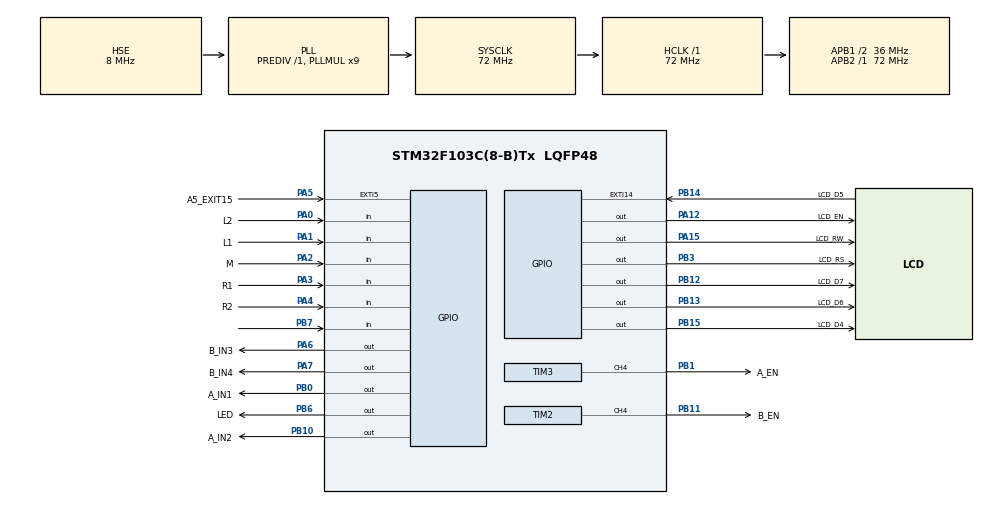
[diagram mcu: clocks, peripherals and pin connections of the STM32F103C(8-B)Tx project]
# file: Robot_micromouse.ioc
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Mcu.Family=STM32F1
Mcu.Name=STM32F103C(8-B)Tx
Mcu.Package=LQFP48
NVIC.EXTI15_10_IRQn=true\:15\:0\:true\:false\:true\:true\:true\:true
NVIC.PriorityGroup=NVIC_PRIORITYGROUP_4
PA0-WKUP.GPIO_Label=L2
PA0-WKUP.Signal=GPIO_Input
PA1.GPIO_Label=L1
PA1.Signal=GPIO_Input
PA12.GPIO_Label=LCD_EN
PA12.Signal=GPIO_Output
PA13.Mode=Serial_Wire
PA13.Signal=SYS_JTMS-SWDIO
PA14.Mode=Serial_Wire
PA14.Signal=SYS_JTCK-SWCLK
PA15.GPIO_Label=LCD_RW
PA15.Signal=GPIO_Output
PA2.GPIO_Label=M
PA2.Signal=GPIO_Input
PA3.GPIO_Label=R1
PA3.Signal=GPIO_Input
PA4.GPIO_Label=R2
PA4.Signal=GPIO_Input
PA5.GPIO_Label=A5_EXIT15
PA5.GPIO_ModeDefaultEXTI=GPIO_MODE_IT_FALLING
PA5.GPIO_PuPd=GPIO_PULLUP
PA5.Signal=GPXTI5
PA6.GPIO_Label=B_IN3
PA6.Signal=GPIO_Output
PA7.GPIO_Label=B_IN4
PA7.Signal=GPIO_Output
PB0.GPIO_Label=A_IN1
PB0.Signal=GPIO_Output
PB1.GPIO_Label=A_EN
PB1.Signal=S_TIM3_CH4
PB10.GPIO_Label=A_IN2
PB10.Signal=GPIO_Output
PB11.GPIO_Label=B_EN
PB11.Signal=S_TIM2_CH4
PB12.GPIO_Label=LCD_D7
PB12.Signal=GPIO_Output
PB13.GPIO_Label=LCD_D6
PB13.Signal=GPIO_Output
PB14.GPIO_Label=LCD_D5
PB14.Signal=GPXTI14
PB15.GPIO_Label=LCD_D4
PB15.Signal=GPIO_Output
PB3.GPIO_Label=LCD_RS
PB3.Signal=GPIO_Output
PB6.GPIO_Label=LED
PB6.GPIO_ModeDefaultOutputPP=GPIO_MODE_OUTPUT_PP
PB6.GPIO_PuPd=GPIO_PULLDOWN
PB6.Signal=GPIO_Output
PB7.GPIO_PuPd=GPIO_PULLUP
PB7.Signal=GPIO_Input
PC14-OSC32_IN.Mode=LSE-External-Oscillator
PC14-OSC32_IN.Signal=RCC_OSC32_IN
PC15-OSC32_OUT.Mode=LSE-External-Oscillator
PC15-OSC32_OUT.Signal=RCC_OSC32_OUT
PD0-OSC_IN.Mode=HSE-External-Oscillator
PD0-OSC_IN.Signal=RCC_OSC_IN
PD1-OSC_OUT.Mode=HSE-External-Oscillator
PD1-OSC_OUT.Signal=RCC_OSC_OUT
ProjectManager.HeapSize=0x200
ProjectManager.StackSize=0x400
ProjectManager.TargetToolchain=STM32CubeIDE
RCC.AHBFreq_Value=72000000
RCC.APB1CLKDivider=RCC_HCLK_DIV2
RCC.APB1Freq_Value=36000000
RCC.APB1TimFreq_Value=72000000
RCC.APB2Freq_Value=72000000
RCC.APB2TimFreq_Value=72000000
RCC.HCLKFreq_Value=72000000
RCC.PLLMUL=RCC_PLL_MUL9
RCC.PLLSourceVirtual=RCC_PLLSOURCE_HSE
RCC.SYSCLKFreq_VALUE=72000000
RCC.SYSCLKSource=RCC_SYSCLKSOURCE_PLLCLK
RCC.USBFreq_Value=72000000
SH.S_TIM2_CH4.0=TIM2_CH4,PWM Generation4 CH4
SH.S_TIM3_CH4.0=TIM3_CH4,PWM Generation4 CH4
TIM2.AutoReloadPreload=TIM_AUTORELOAD_PRELOAD_ENABLE
TIM2.Channel-PWM\ Generation4\ CH4=TIM_CHANNEL_4
TIM2.Period=99
TIM2.Prescaler=79
TIM3.AutoReloadPreload=TIM_AUTORELOAD_PRELOAD_ENABLE
TIM3.Channel-PWM\ Generation4\ CH4=TIM_CHANNEL_4
TIM3.Period=99
TIM3.Prescaler=79
board=custom

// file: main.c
/* USER CODE BEGIN Header */
/**
  ******************************************************************************
  * @file           : main.c
  * @brief          : Main program body
  ******************************************************************************
  * @attention
  *
  * Copyright (c) 2022 STMicroelectronics.
  * All rights reserved.
  *
  * This software is licensed under terms that can be found in the LICENSE file
  * in the root directory of this software component.
  * If no LICENSE file comes with this software, it is provided AS-IS.
  *
  ******************************************************************************
  */
/* USER CODE END Header */
#include "main.h"

/* USER CODE BEGIN Includes */
#include "LiquidCrystal.h"
#include "stdio.h"
#include "stdint.h"
/* USER CODE END Includes */

 TIM_HandleTypeDef htim2;
TIM_HandleTypeDef htim3;

/* USER CODE BEGIN PV */
int sensor[5]={};
int error;
double lastError=0;
int P , I , D;
float Kp = 0.001;
float ki = 0;
float Kd = 0.1;
const uint8_t maxspeedr = 100;
const uint8_t maxspeedl = 100;
const uint8_t basespeedr = 75;
const uint8_t basespeedl = 75;
char path[100];
int pathLength=0;
/* USER CODE END PV */

void SystemClock_Config(void);
static void MX_GPIO_Init(void);
static void MX_TIM2_Init(void);
static void MX_TIM3_Init(void);
/* USER CODE BEGIN PFP */
void Forward(double PWM_L,double PWM_R);
void Backward(double PWM_L,double PWM_R);
void stop();
void Turn_Left(double PWM_L,double PWM_R);
void Turn_Right(double PWM_L,double PWM_R);
int read_sensor();
void PID_control();
void save_path(char dir);
//void HAL_GPIO_EXTI_Callback(uint16_t GPIO_Pin);
/* USER CODE END PFP */

int main(void)
{

  /* MCU Configuration--------------------------------------------------------*/

  /* Reset of all peripherals, Initializes the Flash interface and the Systick. */
  HAL_Init();

  /* Configure the system clock */
  SystemClock_Config();

  /* Initialize all configured peripherals */
  MX_GPIO_Init();
  MX_TIM2_Init();
  MX_TIM3_Init();
  /* USER CODE BEGIN 2 */
  HAL_TIM_Base_Start(&htim2);
  HAL_TIM_Base_Start(&htim3);
  HAL_TIM_PWM_Start(&htim2,TIM_CHANNEL_4);
  HAL_TIM_PWM_Start(&htim3,TIM_CHANNEL_4);
  /* USER CODE END 2 */

  /* Infinite loop */
  while (1)
  {

    /* USER CODE BEGIN 3 */
	  Forward(75,75);
	  HAL_Delay(1000);

	  stop();
	  HAL_Delay(1000);

	  Forward(75.11,74.89);
	  HAL_Delay(1000);

	  stop();
	  HAL_Delay(1000);

	  Forward(74.89,75.11);
	  HAL_Delay(1000);

	  stop();
	  HAL_Delay(1000);

	  Forward(75.22,74.78);
	  HAL_Delay(1000);

	  stop();
	  HAL_Delay(1000);

	  Forward(74.78,75.22);
	  HAL_Delay(1000);

	  stop();
	  HAL_Delay(1000);

/*
    int Error= read_sensor();
	  if((Error == 0) || (Error == 1) || (Error == -1) || (Error == 2) || (Error == -2))
	  {
		  PID_control();
		 // Forward(75,75);
		  save_path('S'); //value ‘S’ saved for straight
	  }
	  else if((Error == 3) || (Error == 4) || (Error == 6))
	  {
		 // Backward(60,60);
		  stop();
		  HAL_Delay(200);
		  Turn_Right(75,35);
		 // HAL_Delay(1000);
		  save_path('R'); //value ‘R’ saved for right turn
	  }
	  else if((Error == -3) || (Error == -4) || (Error == -6))
	  {
		  Turn_Left(35,75);
		  HAL_Delay(500);
		  stop();
		  HAL_Delay(800);
		  save_path('L'); //value ‘L’ saved for left turn
	  }
	  else
	  {
		  HAL_Delay(1000);
		  stop();
	  } */
  }
  /* USER CODE END 3 */
}

void SystemClock_Config(void)
{
  RCC_OscInitTypeDef RCC_OscInitStruct = {0};
  RCC_ClkInitTypeDef RCC_ClkInitStruct = {0};

  /** Initializes the RCC Oscillators according to the specified parameters
  * in the RCC_OscInitTypeDef structure.
  */
  RCC_OscInitStruct.OscillatorType = RCC_OSCILLATORTYPE_HSE;
  RCC_OscInitStruct.HSEState = RCC_HSE_ON;
  RCC_OscInitStruct.HSEPredivValue = RCC_HSE_PREDIV_DIV1;
  RCC_OscInitStruct.HSIState = RCC_HSI_ON;
  RCC_OscInitStruct.PLL.PLLState = RCC_PLL_ON;
  RCC_OscInitStruct.PLL.PLLSource = RCC_PLLSOURCE_HSE;
  RCC_OscInitStruct.PLL.PLLMUL = RCC_PLL_MUL9;
  if (HAL_RCC_OscConfig(&RCC_OscInitStruct) != HAL_OK)
  {
    Error_Handler();
  }

  /** Initializes the CPU, AHB and APB buses clocks
  */
  RCC_ClkInitStruct.ClockType = RCC_CLOCKTYPE_HCLK|RCC_CLOCKTYPE_SYSCLK
                              |RCC_CLOCKTYPE_PCLK1|RCC_CLOCKTYPE_PCLK2;
  RCC_ClkInitStruct.SYSCLKSource = RCC_SYSCLKSOURCE_PLLCLK;
  RCC_ClkInitStruct.AHBCLKDivider = RCC_SYSCLK_DIV1;
  RCC_ClkInitStruct.APB1CLKDivider = RCC_HCLK_DIV2;
  RCC_ClkInitStruct.APB2CLKDivider = RCC_HCLK_DIV1;

  if (HAL_RCC_ClockConfig(&RCC_ClkInitStruct, FLASH_LATENCY_2) != HAL_OK)
  {
    Error_Handler();
  }
}

static void MX_TIM2_Init(void)
{

  TIM_MasterConfigTypeDef sMasterConfig = {0};
  TIM_OC_InitTypeDef sConfigOC = {0};

  htim2.Instance = TIM2;
  htim2.Init.Prescaler = 79;
  htim2.Init.CounterMode = TIM_COUNTERMODE_UP;
  htim2.Init.Period = 99;
  htim2.Init.ClockDivision = TIM_CLOCKDIVISION_DIV1;
  htim2.Init.AutoReloadPreload = TIM_AUTORELOAD_PRELOAD_ENABLE;
  if (HAL_TIM_PWM_Init(&htim2) != HAL_OK)
  {
    Error_Handler();
  }
  sMasterConfig.MasterOutputTrigger = TIM_TRGO_RESET;
  sMasterConfig.MasterSlaveMode = TIM_MASTERSLAVEMODE_DISABLE;
  if (HAL_TIMEx_MasterConfigSynchronization(&htim2, &sMasterConfig) != HAL_OK)
  {
    Error_Handler();
  }
  sConfigOC.OCMode = TIM_OCMODE_PWM1;
  sConfigOC.Pulse = 0;
  sConfigOC.OCPolarity = TIM_OCPOLARITY_HIGH;
  sConfigOC.OCFastMode = TIM_OCFAST_DISABLE;
  if (HAL_TIM_PWM_ConfigChannel(&htim2, &sConfigOC, TIM_CHANNEL_4) != HAL_OK)
  {
    Error_Handler();
  }
  HAL_TIM_MspPostInit(&htim2);

}

static void MX_TIM3_Init(void)
{

  TIM_MasterConfigTypeDef sMasterConfig = {0};
  TIM_OC_InitTypeDef sConfigOC = {0};

  htim3.Instance = TIM3;
  htim3.Init.Prescaler = 79;
  htim3.Init.CounterMode = TIM_COUNTERMODE_UP;
  htim3.Init.Period = 99;
  htim3.Init.ClockDivision = TIM_CLOCKDIVISION_DIV1;
  htim3.Init.AutoReloadPreload = TIM_AUTORELOAD_PRELOAD_ENABLE;
  if (HAL_TIM_PWM_Init(&htim3) != HAL_OK)
  {
    Error_Handler();
  }
  sMasterConfig.MasterOutputTrigger = TIM_TRGO_RESET;
  sMasterConfig.MasterSlaveMode = TIM_MASTERSLAVEMODE_DISABLE;
  if (HAL_TIMEx_MasterConfigSynchronization(&htim3, &sMasterConfig) != HAL_OK)
  {
    Error_Handler();
  }
  sConfigOC.OCMode = TIM_OCMODE_PWM1;
  sConfigOC.Pulse = 0;
  sConfigOC.OCPolarity = TIM_OCPOLARITY_HIGH;
  sConfigOC.OCFastMode = TIM_OCFAST_DISABLE;
  if (HAL_TIM_PWM_ConfigChannel(&htim3, &sConfigOC, TIM_CHANNEL_4) != HAL_OK)
  {
    Error_Handler();
  }
  HAL_TIM_MspPostInit(&htim3);

}

static void MX_GPIO_Init(void)
{
  GPIO_InitTypeDef GPIO_InitStruct = {0};

  /* GPIO Ports Clock Enable */
  __HAL_RCC_GPIOC_CLK_ENABLE();
  __HAL_RCC_GPIOD_CLK_ENABLE();
  __HAL_RCC_GPIOA_CLK_ENABLE();
  __HAL_RCC_GPIOB_CLK_ENABLE();

  /*Configure GPIO pin Output Level */
  HAL_GPIO_WritePin(GPIOA, B_IN3_Pin|B_IN4_Pin|LCD_EN_Pin|LCD_RW_Pin, GPIO_PIN_RESET);

  /*Configure GPIO pin Output Level */
  HAL_GPIO_WritePin(GPIOB, A_IN1_Pin|A_IN2_Pin|LCD_D7_Pin|LCD_D6_Pin
                          |LCD_D4_Pin|LCD_RS_Pin|LED_Pin, GPIO_PIN_RESET);

  /*Configure GPIO pins : L2_Pin L1_Pin M_Pin R1_Pin
                           R2_Pin */
  GPIO_InitStruct.Pin = L2_Pin|L1_Pin|M_Pin|R1_Pin
                          |R2_Pin;
  GPIO_InitStruct.Mode = GPIO_MODE_INPUT;
  GPIO_InitStruct.Pull = GPIO_NOPULL;
  HAL_GPIO_Init(GPIOA, &GPIO_InitStruct);

  /*Configure GPIO pin : A5_EXIT15_Pin */
  GPIO_InitStruct.Pin = A5_EXIT15_Pin;
  GPIO_InitStruct.Mode = GPIO_MODE_IT_FALLING;
  GPIO_InitStruct.Pull = GPIO_PULLUP;
  HAL_GPIO_Init(A5_EXIT15_GPIO_Port, &GPIO_InitStruct);

  /*Configure GPIO pins : B_IN3_Pin B_IN4_Pin LCD_EN_Pin LCD_RW_Pin */
  GPIO_InitStruct.Pin = B_IN3_Pin|B_IN4_Pin|LCD_EN_Pin|LCD_RW_Pin;
  GPIO_InitStruct.Mode = GPIO_MODE_OUTPUT_PP;
  GPIO_InitStruct.Pull = GPIO_NOPULL;
  GPIO_InitStruct.Speed = GPIO_SPEED_FREQ_LOW;
  HAL_GPIO_Init(GPIOA, &GPIO_InitStruct);

  /*Configure GPIO pins : A_IN1_Pin A_IN2_Pin LCD_D7_Pin LCD_D6_Pin
                           LCD_D4_Pin LCD_RS_Pin */
  GPIO_InitStruct.Pin = A_IN1_Pin|A_IN2_Pin|LCD_D7_Pin|LCD_D6_Pin
                          |LCD_D4_Pin|LCD_RS_Pin;
  GPIO_InitStruct.Mode = GPIO_MODE_OUTPUT_PP;
  GPIO_InitStruct.Pull = GPIO_NOPULL;
  GPIO_InitStruct.Speed = GPIO_SPEED_FREQ_LOW;
  HAL_GPIO_Init(GPIOB, &GPIO_InitStruct);

  /*Configure GPIO pin : LCD_D5_Pin */
  GPIO_InitStruct.Pin = LCD_D5_Pin;
  GPIO_InitStruct.Mode = GPIO_MODE_IT_RISING;
  GPIO_InitStruct.Pull = GPIO_NOPULL;
  HAL_GPIO_Init(LCD_D5_GPIO_Port, &GPIO_InitStruct);

  /*Configure GPIO pin : LED_Pin */
  GPIO_InitStruct.Pin = LED_Pin;
  GPIO_InitStruct.Mode = GPIO_MODE_OUTPUT_PP;
  GPIO_InitStruct.Pull = GPIO_PULLDOWN;
  GPIO_InitStruct.Speed = GPIO_SPEED_FREQ_LOW;
  HAL_GPIO_Init(LED_GPIO_Port, &GPIO_InitStruct);

  /*Configure GPIO pin : PB7 */
  GPIO_InitStruct.Pin = GPIO_PIN_7;
  GPIO_InitStruct.Mode = GPIO_MODE_INPUT;
  GPIO_InitStruct.Pull = GPIO_PULLUP;
  HAL_GPIO_Init(GPIOB, &GPIO_InitStruct);

  /* EXTI interrupt init*/
  HAL_NVIC_SetPriority(EXTI15_10_IRQn, 15, 0);
  HAL_NVIC_EnableIRQ(EXTI15_10_IRQn);

}

/* USER CODE BEGIN 4 */
/*-----------------------------------------------------------Forward-------------------------------------------------------*/
void Forward(double PWM_L,double PWM_R)
{
	__HAL_TIM_SET_COMPARE(&htim3, TIM_CHANNEL_4, PWM_L);      //Left  A_EN
	HAL_GPIO_WritePin(GPIOB, GPIO_PIN_0, GPIO_PIN_SET);
	HAL_GPIO_WritePin(GPIOB, GPIO_PIN_10, GPIO_PIN_RESET);

	__HAL_TIM_SET_COMPARE(&htim2, TIM_CHANNEL_4, PWM_R);      //Right B_EN
	HAL_GPIO_WritePin(GPIOA, GPIO_PIN_6, GPIO_PIN_RESET);
	HAL_GPIO_WritePin(GPIOA, GPIO_PIN_7, GPIO_PIN_SET);
}
/*-----------------------------------------------------------Backward-------------------------------------------------------*/
void Backward(double PWM_L,double PWM_R)
{
	__HAL_TIM_SET_COMPARE(&htim3, TIM_CHANNEL_4, PWM_L);     //Left
	HAL_GPIO_WritePin(GPIOB, GPIO_PIN_0, GPIO_PIN_RESET);
	HAL_GPIO_WritePin(GPIOB, GPIO_PIN_10, GPIO_PIN_SET);

	__HAL_TIM_SET_COMPARE(&htim2, TIM_CHANNEL_4, PWM_R);     //Right
	HAL_GPIO_WritePin(GPIOB, GPIO_PIN_12, GPIO_PIN_SET);
	HAL_GPIO_WritePin(GPIOB, GPIO_PIN_13, GPIO_PIN_RESET);
	/*
			__HAL_TIM_SET_COMPARE(&htim3, TIM_CHANNEL_4, PWM_L);      //Left  A_EN
			HAL_GPIO_WritePin(GPIOB, GPIO_PIN_0, GPIO_PIN_SET);
			HAL_GPIO_WritePin(GPIOB, GPIO_PIN_10, GPIO_PIN_RESET);

			__HAL_TIM_SET_COMPARE(&htim2, TIM_CHANNEL_4, PWM_R);      //Right B_EN
			HAL_GPIO_WritePin(GPIOA, GPIO_PIN_6, GPIO_PIN_SET);
			HAL_GPIO_WritePin(GPIOA, GPIO_PIN_7, GPIO_PIN_RESET);
			*/
}
/*---------------------------------------------------------------stop--------------------------------------------------------------*/
void stop()
{
	__HAL_TIM_SET_COMPARE(&htim3, TIM_CHANNEL_4, 0); // A_EN
	HAL_GPIO_WritePin(GPIOB, GPIO_PIN_10 | GPIO_PIN_0, GPIO_PIN_RESET);

	__HAL_TIM_SET_COMPARE(&htim2, TIM_CHANNEL_4, 0); // B_EN
	HAL_GPIO_WritePin(GPIOA, GPIO_PIN_6 | GPIO_PIN_7, GPIO_PIN_RESET);
}
/*-------------------------------------------------------------------Turn_Left------------------------------------------------------------*/
void Turn_Left(double PWM_L,double PWM_R)
{
	__HAL_TIM_SET_COMPARE(&htim3, TIM_CHANNEL_4, PWM_L);     //Left
	HAL_GPIO_WritePin(GPIOB, GPIO_PIN_0, GPIO_PIN_RESET);
	HAL_GPIO_WritePin(GPIOB, GPIO_PIN_10, GPIO_PIN_SET);

	__HAL_TIM_SET_COMPARE(&htim2, TIM_CHANNEL_4, PWM_R);     //Right
	HAL_GPIO_WritePin(GPIOA, GPIO_PIN_6, GPIO_PIN_RESET);
	HAL_GPIO_WritePin(GPIOA, GPIO_PIN_7, GPIO_PIN_SET);

}
/*-------------------------------------------------------------------Turn_Right----------------------------------------------------------*/
void Turn_Right(double PWM_L,double PWM_R)
{
	__HAL_TIM_SET_COMPARE(&htim3, TIM_CHANNEL_4, PWM_L);     //Left
	HAL_GPIO_WritePin(GPIOB, GPIO_PIN_0, GPIO_PIN_SET);
	HAL_GPIO_WritePin(GPIOB, GPIO_PIN_10, GPIO_PIN_RESET);

	__HAL_TIM_SET_COMPARE(&htim2, TIM_CHANNEL_4, PWM_R);     //Right
	HAL_GPIO_WritePin(GPIOA, GPIO_PIN_6, GPIO_PIN_SET);
	HAL_GPIO_WritePin(GPIOA, GPIO_PIN_7, GPIO_PIN_RESET);

}
/*-------------------------------------------------------------Sensor_read----------------------------------------------------------*/
int read_sensor()
{
sensor[0]= HAL_GPIO_ReadPin(GPIOA,GPIO_PIN_0);
sensor[1]= HAL_GPIO_ReadPin(GPIOA,GPIO_PIN_1);
sensor[2]= HAL_GPIO_ReadPin(GPIOA,GPIO_PIN_2);
sensor[3]= HAL_GPIO_ReadPin(GPIOA,GPIO_PIN_3);
sensor[4]= HAL_GPIO_ReadPin(GPIOA,GPIO_PIN_4);

int error ;
if(sensor[0] == 1 && sensor[1] == 1 && sensor[2] == 1 && sensor[3] == 1 && sensor[4] == 1)   //11111
{
    error = 5;
}
if(sensor[0] == 0 && sensor[1] == 0 && sensor[2] == 0 && sensor[3] == 0 && sensor[4] == 0)   //00000
{
    error = -5;
}
if(sensor[0] == 1 && sensor[1] == 1 && sensor[2] == 1 && sensor[3] == 1 && sensor[4] == 0)   //11110
{
    error = 4;
}
if(sensor[0] == 1 && sensor[1] == 1 && sensor[2] == 1 && sensor[3] == 0 && sensor[4] == 0)   //11100
{
    error = 3;
}
if(sensor[0] == 1 && sensor[1] == 1 && sensor[2] == 1 && sensor[3] == 0 && sensor[4] == 1)   //11101
{
    error = 2;
}
if(sensor[0] == 1 && sensor[1] == 1 && sensor[2] == 0 && sensor[3] == 0 && sensor[4] == 1)   //11001
{
     error= 1;
   // last_end = 1;
}
if(sensor[0] == 1 && sensor[1] == 1 && sensor[2] == 0 && sensor[3] == 1 && sensor[4] == 1)   //11011
{
    error = 0;
   // last_end = 1;
}
if(sensor[0] == 1 && sensor[1] == 0 && sensor[2] == 0 && sensor[3] == 1 && sensor[4] == 1)   //10011
{
    error = -1;
}
if(sensor[0] == 1 && sensor[1] == 0 && sensor[2] == 1 && sensor[3] == 1 && sensor[4] == 1)   //10111
{
    error = -2;
}
if(sensor[0] == 0 && sensor[1] == 0 && sensor[2] == 1 && sensor[3] == 1 && sensor[4] == 1)   //00111
{
    error = -3;
}
if(sensor[0] == 0 && sensor[1] == 1 && sensor[2] == 1 && sensor[3] == 1 && sensor[4] == 1)   //01111
{
    error = -4;
 //   last_end = 0;
}
if(sensor[0] == 1 && sensor[1] == 0 && sensor[2] == 0 && sensor[3] == 0 && sensor[4] == 0)   //10000
{
    error = 6;
}
if(sensor[0] == 0 && sensor[1] == 0 && sensor[2] == 0 && sensor[3] == 0 && sensor[4] == 1)   //00001
{
    error = -6;
}
return error;
}
/*-----------------------------------------------------------PID_control---------------------------------------------------------*/
void PID_control()
{
	int Error = read_sensor();
	P = Error;
	I += Error;
	D = Error - lastError ;
	lastError = Error;
  int motorspeed = P*Kp + ki*I +Kd*D;
  int motorspeedl = basespeedl + motorspeed ;
  int motorspeedr = basespeedr - motorspeed ;

	if (motorspeedl > maxspeedl)  motorspeedl = maxspeedl;
    if (motorspeedr > maxspeedr)  motorspeedr = maxspeedr;
    Forward(motorspeedl,motorspeedr);

}
/*------------------------------------------------------------------------------------------------------------------*/
void save_path(char dir) //saves dry run data in array path[]
{
path[pathLength] = dir;
pathLength++;
HAL_Delay(1);   //_delay_us(1);
}
/*------------------------------------------------------------------------------------------------------------------*/
/*void Make_Decession(char Incoming_Command) {
  switch (Incoming_Command) {
    case 'S':
      Go_one_step();
      break;

    case 'R':
      GO_RIGHT();
      break;

    case 'L':
      GO_LEFT();
      break;

    case 'O':
      Finish_Point();
      break;
  }
}*/
/*--------------------------------------------------A7_EXIT Button ++ LED ON / OFF -------------------------------------------------*/
/*void HAL_GPIO_EXTI_Callback(uint16_t GPIO_Pin)
{
	if(GPIO_Pin == A5_EXIT15_Pin)
	//if( A5_EXIT15_Pin==0)
	{
	    //HAL_GPIO_WritePin(GPIOB,GPIO_PIN_6,GPIO_PIN_SET);
		HAL_GPIO_TogglePin(LED_GPIO_Port,LED_Pin);
	}
}*/

/*--------------------------------------------------------------------------------------------------*/
/*void leftHandWall()
{
	if(sensor[0]==0 && sensor[4]==0){        //indicates either 3way intersection or end of maze
		//GO_One_Step();
		read_sensor();
		if(sensor[0]==0 || sensor[4]==0)    //if it moves forward and still sees all black, maze is done
		{
			//Finish();
		}
		if(sensor[0]==1 && sensor[4]==1)   //otherwise it turns left
		{
			Turn_Left(35,75);
		}
	}

}*/
/*--------------------------------------------------------------------------------------------*/
void GO_One_Step()
{
	Forward(75,75);
	HAL_Delay(100);
	stop();
}

/* USER CODE END 4 */

void Error_Handler(void)
{
  __disable_irq();
  while (1)
  {
  }
}
